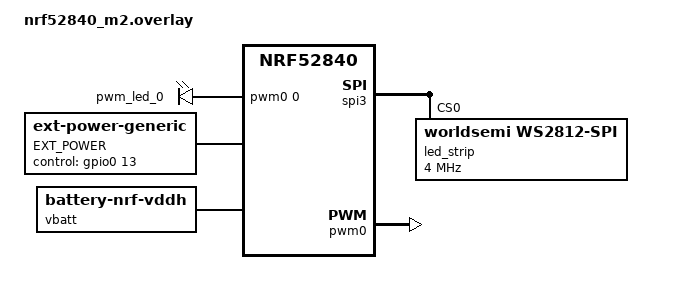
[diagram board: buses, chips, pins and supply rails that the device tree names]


#include <dt-bindings/led/led.h>


/ {
   

                chosen {
 	zmk,underglow = &led_strip;
        zmk,backlight = &back_led_backlight;
        zmk,battery   = &vbatt;
        zmk,underglow-indicators = &underglow_indicators;
    };
/*
  27 LEDs

  
  [24] [23] [18] [17] [10] [09]
  [25] [22] [19] [16] [11] [08]
  [26] [21] [20] [15] [12] [07]
            [14]   [13]   [06] * [2] [1] [0]
                               * [3] [4] [5]
]
*/
underglow_indicators: underglow-indicators {
		compatible  = "zmk,underglow-indicators";
		layer-state = <6 7 8 9>;
		ble-profiles  = <3 4 5>;
		usb-state   = <20>;
		caps-lock    = <14>;
		num-lock     = <7>;
		scroll-lock  = <8>;
		output-fallback = <16>;
		 /*peripheral {
                       left {
                       peripheral-battery     = <26 23 20 17 12>;
                             };
                       right {
                       peripheral-battery     = <27 22 21 16 13>;
                             }; 
	}; */
};


back_led_backlight: pwmleds {
        compatible = "pwm-leds";
        pwm_led_0 {
            pwms = <&pwm0 0 PWM_USEC(20) PWM_POLARITY_NORMAL>;
        };
    };

EXT_POWER {
		compatible = "zmk,ext-power-generic";
		control-gpios = <&gpio0 13 GPIO_ACTIVE_HIGH>;
		init-delay-ms = <100>;
	};
vbatt: vbatt {
        compatible = "zmk,battery-nrf-vddh";
    };

/*
  27 LEDs

  
  25 24 19 18 11 10
  26 23 20 17 12 9
  27 22 21 16 13 8
            15   14   7 *   3 2 1
                        *   4 5 6
*/
};
	
&spi3 {
    compatible = "nordic,nrf-spim";
    status = "okay";

    pinctrl-0 = <&spi3_default>;
    pinctrl-1 = <&spi3_sleep>;
    pinctrl-names = "default", "sleep";

    led_strip: ws2812@0 {
        compatible = "worldsemi,ws2812-spi";

        /* SPI */
        reg = <0>; /* ignored, but necessary for SPI bindings */
        spi-max-frequency = <4000000>;

        /* WS2812 */
        chain-length = <26>; /* 40 keys have underglow at the moment */
        spi-one-frame = <0x70>;
        spi-zero-frame = <0x40>;

        color-mapping = <LED_COLOR_ID_GREEN LED_COLOR_ID_RED LED_COLOR_ID_BLUE>;
    };
};

&pwm0 {
    status = "okay";
    pinctrl-0 = <&pwm0_default>;
    pinctrl-1 = <&pwm0_sleep>;
    pinctrl-names = "default", "sleep";
};

&uart0 {
    compatible = "nordic,nrf-uarte";
    pinctrl-0 = <&uart0_default>;
    pinctrl-1 = <&uart0_sleep>;
    pinctrl-names = "default", "sleep";
};


